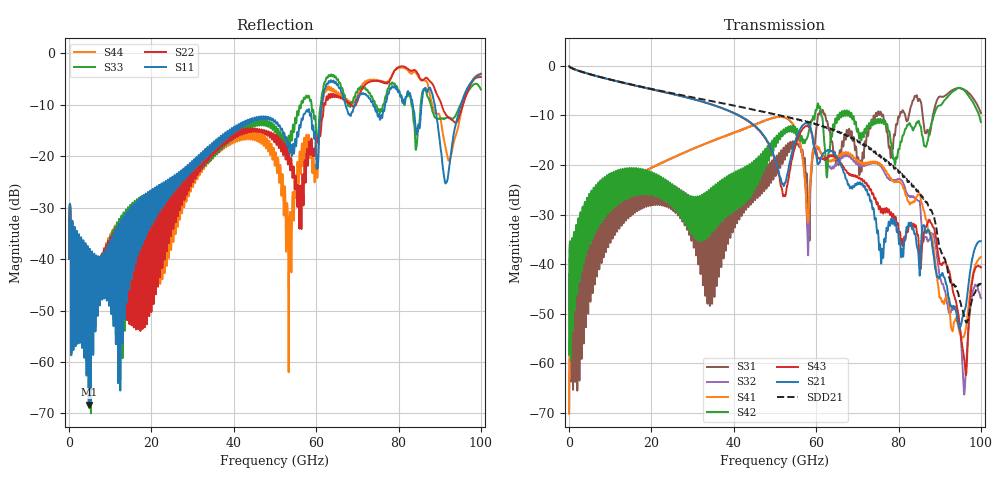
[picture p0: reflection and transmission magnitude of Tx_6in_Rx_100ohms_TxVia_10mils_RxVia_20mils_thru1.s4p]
! Info: Touchstone file created by Circ.  Input file=Tx_6in_Rx_100ohms_TxVia_10mils_RxVia_20mils.circ
# Hz S RI R 50
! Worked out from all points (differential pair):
!   10000 points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, 10 MHz to 100 GHz, reference 50 ohm
!   strongest paths, dB at 10 MHz, 25.01 GHz, 50.01 GHz, 75.01 GHz, 100 GHz:
!     S21: -0.1, -5.7, -18.9, -33.3, -35.4
!     S43: -0.1, -5.7, -18.9, -27.9, -40.6
!     S42: -58.2, -24.0, -15.4, -10.7, -11.3
!     S41: -70.1, -18.6, -10.4, -19.7, -38.6
!     S32: -70.1, -18.6, -10.4, -19.9, -46.8
!     S31: -58.2, -23.9, -19.9, -9.3, -9.5
!   taken as a pair (ports 1,3 in; 2,4 out), SDD21 dB: -0.1, -5.6, -9.8, -17.9, -44.1
!   lowest |S11| = -68.3 dB at 4.78 GHz (marker M1), VSWR 1.00, Z = 50 - j0.0379 ohm
!   |S11| at or under -10 dB: start of sweep to 61.32 GHz; 73.81 GHz to 76.72 GHz (2.912 GHz wide, 3.87 % of centre); 88.81 GHz to 95.13 GHz (6.32 GHz wide, 6.87 % of centre) (the widest 3 of 5)
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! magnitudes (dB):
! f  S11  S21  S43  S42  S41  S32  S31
! 10 MHz  -39.9  -0.1  -0.1  -58.2  -70.1  -70.1  -58.2
! 4.78 GHz  -68.3  -1.6  -1.6  -28.4  -31.1  -31.1  -29.0
! 52 GHz  -15.7  -24.1  -26.3  -13.1  -10.3  -10.4  -17.1
! 87.71 GHz  -6.8  -34.2  -31.5  -12.5  -33.9  -34.7  -13.3
! 91.54 GHz  -25.2  -44.0  -40.0  -6.6  -46.7  -46.6  -5.9
! 96.2 GHz  -7.6  -49.0  -61.1  -5.2  -53.6  -63.6  -4.9
! 100 GHz  -4.0  -35.4  -40.6  -11.3  -38.6  -46.8  -9.5
